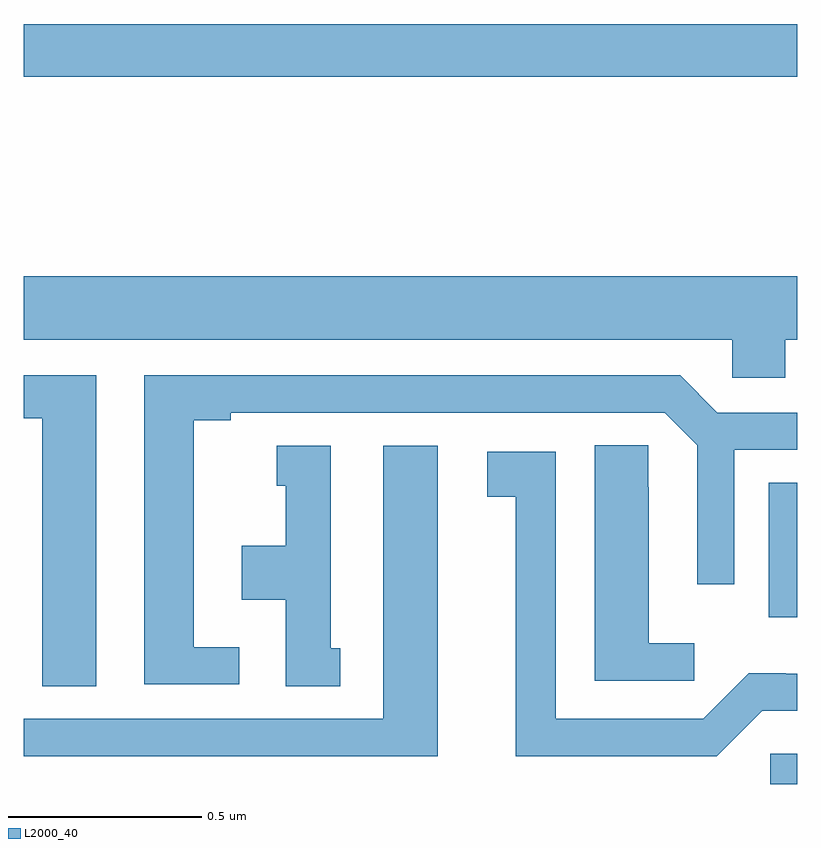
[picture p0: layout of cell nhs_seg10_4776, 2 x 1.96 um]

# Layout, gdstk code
import gdstk
lib = gdstk.Library(unit=1e-6, precision=1e-09)
def R(c, l, rs):  # rectangles x0, y0, x1, y1
    for r in rs: c.add(gdstk.rectangle(r[:2], r[2:], *l))
def P(c, l, *ps):  # polygons
    for p in ps: c.add(gdstk.Polygon(p, *l))
L2000_40 = (2000, 40)

nhs_seg10_4776 = lib.new_cell('nhs_seg10_4776')
R(nhs_seg10_4776, L2000_40, [(171.93,1300.5,172,1300.578), (171.926,1300.931,172,1301.279), (170,1302.328,172,1302.464)])
P(nhs_seg10_4776, L2000_40, [(171.969,1301.648),(172,1301.648),(172,1301.812),(170,1301.812),(170,1301.648),(171.831,1301.648),(171.831,1301.55),(171.969,1301.55)],
  [(170.557,1300.854),(170.44,1300.854),(170.44,1301.44),(170.536,1301.44),(170.536,1301.46),(171.657,1301.46),(171.741,1301.376),(171.741,1301.016),(171.837,1301.016),(171.837,1301.364),(172,1301.364),(172,1301.46),(171.793,1301.46),(171.697,1301.556),(170.312,1301.556),(170.312,1300.758),(170.557,1300.758)],
  [(170.188,1301.556),(170,1301.556),(170,1301.445),(170.048,1301.445),(170.048,1300.753),(170.188,1300.753)],
  [(171.733,1300.864),(171.616,1300.864),(171.616,1301.267),(171.615,1301.267),(171.615,1301.375),(171.476,1301.375),(171.476,1300.767),(171.733,1300.767)],
  [(170.818,1300.851),(170.794,1300.851),(170.794,1301.374),(170.654,1301.374),(170.654,1301.271),(170.678,1301.271),(170.678,1301.116),(170.564,1301.116),(170.564,1300.976),(170.678,1300.976),(170.678,1300.753),(170.818,1300.753)],
  [(171.07,1301.374),(170.93,1301.374),(170.93,1300.668),(170,1300.668),(170,1300.572),(171.07,1300.572)],
  [(171.909,1300.689),(172,1300.689),(172,1300.785),(171.97,1300.785),(171.97,1300.786),(171.874,1300.786),(171.756,1300.668),(171.376,1300.668),(171.376,1301.358),(171.198,1301.358),(171.198,1301.242),(171.272,1301.242),(171.272,1300.572),(171.792,1300.572)])

lib.write_gds('nhs_seg10_4776.gds')
